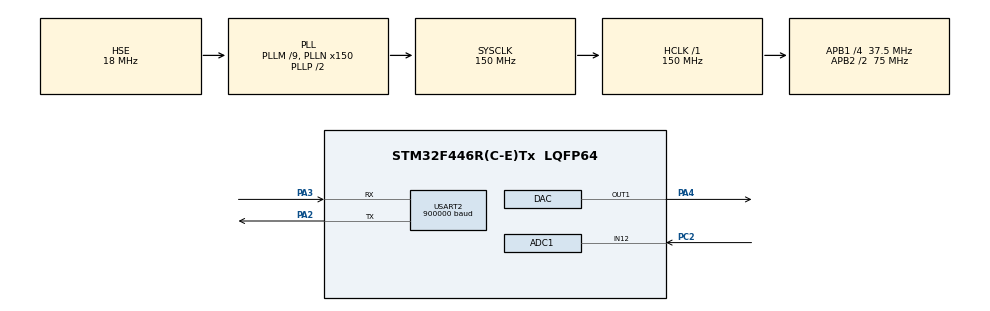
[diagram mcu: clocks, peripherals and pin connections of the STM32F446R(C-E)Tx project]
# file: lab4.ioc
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ADC1.Channel-7\#ChannelRegularConversion=ADC_CHANNEL_12
ADC1.NbrOfConversionFlag=1
ADC1.Rank-7\#ChannelRegularConversion=1
ADC1.SamplingTime-7\#ChannelRegularConversion=ADC_SAMPLETIME_3CYCLES
ADC1.master=1
Dma.ADC1.0.Direction=DMA_PERIPH_TO_MEMORY
Dma.ADC1.0.FIFOMode=DMA_FIFOMODE_DISABLE
Dma.ADC1.0.Instance=DMA2_Stream0
Dma.ADC1.0.MemDataAlignment=DMA_MDATAALIGN_HALFWORD
Dma.ADC1.0.MemInc=DMA_MINC_ENABLE
Dma.ADC1.0.Mode=DMA_NORMAL
Dma.ADC1.0.PeriphDataAlignment=DMA_PDATAALIGN_HALFWORD
Dma.ADC1.0.PeriphInc=DMA_PINC_DISABLE
Dma.ADC1.0.Priority=DMA_PRIORITY_LOW
Dma.Request0=ADC1
Mcu.Family=STM32F4
Mcu.Name=STM32F446R(C-E)Tx
Mcu.Package=LQFP64
NVIC.ADC_IRQn=true\:0\:0\:false\:false\:true\:true\:true\:true
NVIC.DMA2_Stream0_IRQn=true\:0\:0\:false\:false\:true\:false\:true\:true
NVIC.PriorityGroup=NVIC_PRIORITYGROUP_4
NVIC.TIM1_UP_TIM10_IRQn=true\:0\:0\:false\:false\:true\:true\:true\:true
NVIC.USART2_IRQn=true\:0\:0\:false\:false\:true\:true\:true\:true
PA2.Mode=Asynchronous
PA2.Signal=USART2_TX
PA3.Mode=Asynchronous
PA3.Signal=USART2_RX
PA4.Signal=COMP_DAC1_group
PC2.Signal=ADCx_IN12
PH0-OSC_IN.Mode=HSE-External-Oscillator
PH0-OSC_IN.Signal=RCC_OSC_IN
PH1-OSC_OUT.Mode=HSE-External-Oscillator
PH1-OSC_OUT.Signal=RCC_OSC_OUT
ProjectManager.HeapSize=0x200
ProjectManager.StackSize=0x400
ProjectManager.TargetToolchain=STM32CubeIDE
RCC.AHBFreq_Value=150000000
RCC.APB1CLKDivider=RCC_HCLK_DIV4
RCC.APB1Freq_Value=37500000
RCC.APB1TimFreq_Value=75000000
RCC.APB2CLKDivider=RCC_HCLK_DIV2
RCC.APB2Freq_Value=75000000
RCC.APB2TimFreq_Value=150000000
RCC.CortexFreq_Value=150000000
RCC.HCLKFreq_Value=150000000
RCC.HSE_VALUE=18000000
RCC.PLLM=9
RCC.PLLN=150
RCC.PLLSourceVirtual=RCC_PLLSOURCE_HSE
RCC.SYSCLKFreq_VALUE=150000000
RCC.SYSCLKSource=RCC_SYSCLKSOURCE_PLLCLK
RCC.USBFreq_Value=150000000
RCC.VCOOutputFreq_Value=300000000
SH.ADCx_IN12.0=ADC1_IN12,IN12
SH.COMP_DAC1_group.0=DAC_OUT1,DAC_OUT1
TIM1.Period=99
TIM1.Prescaler=149
TIM1.TIM_MasterOutputTrigger=TIM_TRGO_UPDATE
USART2.BaudRate=900000
USART2.VirtualMode=VM_ASYNC
VP_TIM1_VS_ClockSourceINT.Mode=Internal
board=custom

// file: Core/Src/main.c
/* USER CODE BEGIN Header */
/**
  ******************************************************************************
  * @file           : main.c
  * @brief          : Main program body
  ******************************************************************************
  * @attention
  *
  * Copyright (c) 2024 STMicroelectronics.
  * All rights reserved.
  *
  * This software is licensed under terms that can be found in the LICENSE file
  * in the root directory of this software component.
  * If no LICENSE file comes with this software, it is provided AS-IS.
  *
  ******************************************************************************
  */
/* USER CODE END Header */
#include "main.h"

/* USER CODE BEGIN Includes */
#include <math.h>
#include <string.h>
#include <stdio.h>
/* USER CODE END Includes */

/* USER CODE BEGIN PD */
#define SAMPLE_RATE 10000
#define VREF 3.3

#define UART_RX_BUFFER_SIZE 5
#define UART_TX_BUFFER_SIZE 32
/* USER CODE END PD */

ADC_HandleTypeDef hadc1;
DMA_HandleTypeDef hdma_adc1;

DAC_HandleTypeDef hdac;

TIM_HandleTypeDef htim1;

UART_HandleTypeDef huart2;

/* USER CODE BEGIN PV */
float frequency = 10.0;
float amplitude_volts = 1.5;
float phase = 0.0;

volatile uint32_t dac_value;
volatile float dac_output_voltage;

uint8_t rx_buffer[UART_RX_BUFFER_SIZE];
uint8_t tx_buffer[UART_TX_BUFFER_SIZE];

uint16_t adc_buffer[1];
float adc_voltage = 0;
/* USER CODE END PV */

void SystemClock_Config(void);
static void MX_GPIO_Init(void);
static void MX_DMA_Init(void);
static void MX_DAC_Init(void);
static void MX_TIM1_Init(void);
static void MX_USART2_UART_Init(void);
static void MX_ADC1_Init(void);
/* USER CODE BEGIN PFP */
void update_sine_wave(void);
uint32_t calculate_dac_value(float sine_voltage);
/* USER CODE END PFP */

int main(void)
{

  /* MCU Configuration--------------------------------------------------------*/

  /* Reset of all peripherals, Initializes the Flash interface and the Systick. */
  HAL_Init();

  /* Configure the system clock */
  SystemClock_Config();

  /* Initialize all configured peripherals */
  MX_GPIO_Init();
  MX_DMA_Init();
  MX_DAC_Init();
  MX_TIM1_Init();
  MX_USART2_UART_Init();
  MX_ADC1_Init();
  /* USER CODE BEGIN 2 */
  HAL_UART_Receive_IT(&huart2, rx_buffer, UART_RX_BUFFER_SIZE);
  HAL_DAC_Start(&hdac, DAC_CHANNEL_1);
  if (HAL_ADC_Start_DMA(&hadc1, (uint32_t*)adc_buffer, 1) != HAL_OK) {
	  Error_Handler();
  }
  /* USER CODE END 2 */

  /* Infinite loop */
  while (1)
  {

  }
}

void SystemClock_Config(void)
{
  RCC_OscInitTypeDef RCC_OscInitStruct = {0};
  RCC_ClkInitTypeDef RCC_ClkInitStruct = {0};

  /** Configure the main internal regulator output voltage
  */
  __HAL_RCC_PWR_CLK_ENABLE();
  __HAL_PWR_VOLTAGESCALING_CONFIG(PWR_REGULATOR_VOLTAGE_SCALE1);

  /** Initializes the RCC Oscillators according to the specified parameters
  * in the RCC_OscInitTypeDef structure.
  */
  RCC_OscInitStruct.OscillatorType = RCC_OSCILLATORTYPE_HSE;
  RCC_OscInitStruct.HSEState = RCC_HSE_ON;
  RCC_OscInitStruct.PLL.PLLState = RCC_PLL_ON;
  RCC_OscInitStruct.PLL.PLLSource = RCC_PLLSOURCE_HSE;
  RCC_OscInitStruct.PLL.PLLM = 9;
  RCC_OscInitStruct.PLL.PLLN = 150;
  RCC_OscInitStruct.PLL.PLLP = RCC_PLLP_DIV2;
  RCC_OscInitStruct.PLL.PLLQ = 2;
  RCC_OscInitStruct.PLL.PLLR = 2;
  if (HAL_RCC_OscConfig(&RCC_OscInitStruct) != HAL_OK)
  {
    Error_Handler();
  }

  /** Initializes the CPU, AHB and APB buses clocks
  */
  RCC_ClkInitStruct.ClockType = RCC_CLOCKTYPE_HCLK|RCC_CLOCKTYPE_SYSCLK
                              |RCC_CLOCKTYPE_PCLK1|RCC_CLOCKTYPE_PCLK2;
  RCC_ClkInitStruct.SYSCLKSource = RCC_SYSCLKSOURCE_PLLCLK;
  RCC_ClkInitStruct.AHBCLKDivider = RCC_SYSCLK_DIV1;
  RCC_ClkInitStruct.APB1CLKDivider = RCC_HCLK_DIV4;
  RCC_ClkInitStruct.APB2CLKDivider = RCC_HCLK_DIV2;

  if (HAL_RCC_ClockConfig(&RCC_ClkInitStruct, FLASH_LATENCY_4) != HAL_OK)
  {
    Error_Handler();
  }
}

static void MX_ADC1_Init(void)
{

  ADC_ChannelConfTypeDef sConfig = {0};

  /** Configure the global features of the ADC (Clock, Resolution, Data Alignment and number of conversion)
  */
  hadc1.Instance = ADC1;
  hadc1.Init.ClockPrescaler = ADC_CLOCK_SYNC_PCLK_DIV4;
  hadc1.Init.Resolution = ADC_RESOLUTION_12B;
  hadc1.Init.ScanConvMode = DISABLE;
  hadc1.Init.ContinuousConvMode = DISABLE;
  hadc1.Init.DiscontinuousConvMode = DISABLE;
  hadc1.Init.ExternalTrigConvEdge = ADC_EXTERNALTRIGCONVEDGE_NONE;
  hadc1.Init.ExternalTrigConv = ADC_SOFTWARE_START;
  hadc1.Init.DataAlign = ADC_DATAALIGN_RIGHT;
  hadc1.Init.NbrOfConversion = 1;
  hadc1.Init.DMAContinuousRequests = DISABLE;
  hadc1.Init.EOCSelection = ADC_EOC_SINGLE_CONV;
  if (HAL_ADC_Init(&hadc1) != HAL_OK)
  {
    Error_Handler();
  }

  /** Configure for the selected ADC regular channel its corresponding rank in the sequencer and its sample time.
  */
  sConfig.Channel = ADC_CHANNEL_12;
  sConfig.Rank = 1;
  sConfig.SamplingTime = ADC_SAMPLETIME_3CYCLES;
  if (HAL_ADC_ConfigChannel(&hadc1, &sConfig) != HAL_OK)
  {
    Error_Handler();
  }

}

static void MX_DAC_Init(void)
{

  DAC_ChannelConfTypeDef sConfig = {0};

  /** DAC Initialization
  */
  hdac.Instance = DAC;
  if (HAL_DAC_Init(&hdac) != HAL_OK)
  {
    Error_Handler();
  }

  /** DAC channel OUT1 config
  */
  sConfig.DAC_Trigger = DAC_TRIGGER_NONE;
  sConfig.DAC_OutputBuffer = DAC_OUTPUTBUFFER_ENABLE;
  if (HAL_DAC_ConfigChannel(&hdac, &sConfig, DAC_CHANNEL_1) != HAL_OK)
  {
    Error_Handler();
  }

}

static void MX_TIM1_Init(void)
{

  TIM_ClockConfigTypeDef sClockSourceConfig = {0};
  TIM_MasterConfigTypeDef sMasterConfig = {0};

  htim1.Instance = TIM1;
  htim1.Init.Prescaler = 149;
  htim1.Init.CounterMode = TIM_COUNTERMODE_UP;
  htim1.Init.Period = 99;
  htim1.Init.ClockDivision = TIM_CLOCKDIVISION_DIV1;
  htim1.Init.RepetitionCounter = 0;
  htim1.Init.AutoReloadPreload = TIM_AUTORELOAD_PRELOAD_DISABLE;
  if (HAL_TIM_Base_Init(&htim1) != HAL_OK)
  {
    Error_Handler();
  }
  sClockSourceConfig.ClockSource = TIM_CLOCKSOURCE_INTERNAL;
  if (HAL_TIM_ConfigClockSource(&htim1, &sClockSourceConfig) != HAL_OK)
  {
    Error_Handler();
  }
  sMasterConfig.MasterOutputTrigger = TIM_TRGO_UPDATE;
  sMasterConfig.MasterSlaveMode = TIM_MASTERSLAVEMODE_DISABLE;
  if (HAL_TIMEx_MasterConfigSynchronization(&htim1, &sMasterConfig) != HAL_OK)
  {
    Error_Handler();
  }
  /* USER CODE BEGIN TIM1_Init 2 */
	HAL_NVIC_SetPriority(TIM1_UP_TIM10_IRQn, 0, 0);
	HAL_NVIC_EnableIRQ(TIM1_UP_TIM10_IRQn);
	HAL_TIM_Base_Start_IT(&htim1);
  /* USER CODE END TIM1_Init 2 */

}

static void MX_USART2_UART_Init(void)
{

  huart2.Instance = USART2;
  huart2.Init.BaudRate = 900000;
  huart2.Init.WordLength = UART_WORDLENGTH_8B;
  huart2.Init.StopBits = UART_STOPBITS_1;
  huart2.Init.Parity = UART_PARITY_NONE;
  huart2.Init.Mode = UART_MODE_TX_RX;
  huart2.Init.HwFlowCtl = UART_HWCONTROL_NONE;
  huart2.Init.OverSampling = UART_OVERSAMPLING_16;
  if (HAL_UART_Init(&huart2) != HAL_OK)
  {
    Error_Handler();
  }

}

static void MX_DMA_Init(void)
{

  /* DMA controller clock enable */
  __HAL_RCC_DMA2_CLK_ENABLE();

  /* DMA interrupt init */
  /* DMA2_Stream0_IRQn interrupt configuration */
  HAL_NVIC_SetPriority(DMA2_Stream0_IRQn, 0, 0);
  HAL_NVIC_EnableIRQ(DMA2_Stream0_IRQn);

}

static void MX_GPIO_Init(void)
{

  /* GPIO Ports Clock Enable */
  __HAL_RCC_GPIOH_CLK_ENABLE();
  __HAL_RCC_GPIOC_CLK_ENABLE();
  __HAL_RCC_GPIOA_CLK_ENABLE();

}

/* USER CODE BEGIN 4 */
uint32_t calculate_dac_value(float sine_voltage) {
    return (uint32_t)((sine_voltage / VREF) * 4095);
}

float calculate_adc_voltage(float adc_value) {
    return ((float) adc_value / 4095) * VREF;
}

void update_sine_wave(void) {
    float delta_theta = 2.0f * M_PI * frequency / SAMPLE_RATE;
    phase += delta_theta;
    if (phase > 2.0f * M_PI) {
        phase -= 2.0f * M_PI;
    }

    dac_output_voltage = VREF / 2 + amplitude_volts * sin(phase);

    dac_value = calculate_dac_value(dac_output_voltage);
    HAL_DAC_SetValue(&hdac, DAC_CHANNEL_1, DAC_ALIGN_12B_R, dac_value);
}

void process_command(uint8_t *cmd) {
    char command_type = cmd[0];
    float value = 0.0;

    if (cmd[2] == '.' && command_type == 'A') {
        int integer_part = (cmd[1] - '0');
        int decimal_part = ((cmd[3] - '0') * 10) + (cmd[4] - '0');
        value = integer_part + (decimal_part / 100.0);

        if (value >= 1 && value <= VREF) {
            amplitude_volts = value / 2;
        }
    }
    else if (cmd[3] == '.' && command_type == 'F') {
        int integer_part = ((cmd[1] - '0') * 10) + (cmd[2] - '0');
        int decimal_part = (cmd[4] - '0');
        value = integer_part + (decimal_part / 10.0);

        if (value >= 5 && value <= 35) {
            frequency = value;
        }
    }
}

void HAL_UART_RxCpltCallback(UART_HandleTypeDef *huart) {
    if (huart->Instance == USART2) {
        process_command(rx_buffer);
        HAL_UART_Receive_IT(&huart2, rx_buffer, UART_RX_BUFFER_SIZE);
    }
}

void HAL_ADC_ConvCpltCallback(ADC_HandleTypeDef *hadc) {
    if(hadc->Instance == ADC1) {
    	adc_voltage = calculate_adc_voltage(adc_buffer[0]);
    	if (HAL_ADC_Start_DMA(&hadc1, (uint32_t*)adc_buffer, 1) != HAL_OK) {
    		  Error_Handler();
    	  }
    }
}

void HAL_TIM_PeriodElapsedCallback(TIM_HandleTypeDef *htim) {
    if (htim->Instance == TIM1) {
        update_sine_wave();
        snprintf((char*)tx_buffer, sizeof(tx_buffer), "v=%f\r\n", adc_voltage);
        HAL_UART_Transmit_IT(&huart2, tx_buffer, strlen((char*)tx_buffer));
    }
}
/* USER CODE END 4 */

void Error_Handler(void)
{
  __disable_irq();
  while (1)
  {
  }
}
